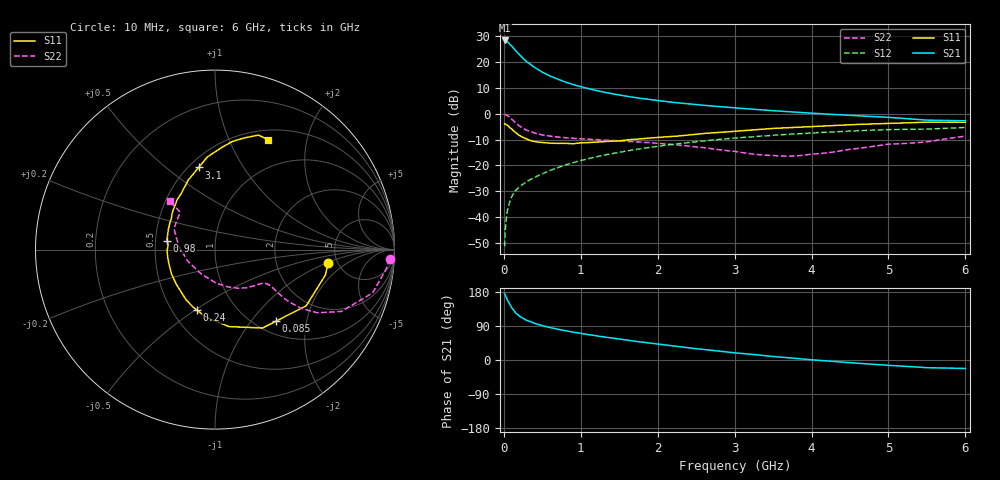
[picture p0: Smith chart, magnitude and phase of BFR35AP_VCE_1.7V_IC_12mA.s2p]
! Infineon Technologies  Discrete & RF Semiconductors
! BFR35AP
! VCE =  1.7 V,  IC =  12 mA
! Common Emitter S-Parameters:  Nov 2015
# GHz  S  MA  R  50
!  f  S11  S21  S12  S22
! GHz  MAG  ANG  MAG  ANG  MAG  ANG  MAG  ANG
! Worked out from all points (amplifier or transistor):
!   210 points, 10 MHz to 6 GHz, reference 50 ohm
!   highest |S21| = 28.1 dB at 10 MHz (marker M1)
!   |S21| within 3 dB of that: start of sweep to 126.3 MHz
!   unconditionally stable (mu >= 1): 472.9 MHz to 3.983 GHz; 5.473 GHz to 5.604 GHz
!   at 185 MHz: K = 0.63, MSG = 25.9 dB, |S12| = -28.7 dB
!   at 1.52 GHz: K = 1.13, MAG = 8.7 dB, |S12| = -14.8 dB
!   at 6 GHz: K = 0.99, MSG = 1.3 dB, |S12| = -5.3 dB
!   S11 on the Smith chart (normalised r, x): 10 MHz: 4.19, -1.07; 85 MHz: 1.21, -1.34; 240 MHz: 0.66, -0.51; 980 MHz: 0.58, +0.06; 3.1 GHz: 0.56, +0.65; 6 GHz: 0.62, +1.41
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0.01  0.6353 -6.9  25.51 175.1  0.0028 88.0  0.9739 -3.1
0.02  0.6309 -13.0  25.1 170.1  0.006 78.4  0.9606 -6.4
0.05  0.5971 -31.6  23.91 156.6  0.0144 76.2  0.9107 -15.4
0.085  0.5235 -49.8  21.04 144.5  0.0216 69.2  0.8186 -22.5
0.1  0.511 -58.8  20.14 138.4  0.0248 67.5  0.7837 -26.1
0.15  0.4361 -79.7  16.41 125.0  0.0327 62.9  0.6676 -31.8
0.2  0.3815 -96.6  13.68 116.0  0.0386 61.4  0.5805 -34.3
0.24  0.3525 -106.7  11.9 110.7  0.0428 61.0  0.5302 -34.9
0.26  0.3412 -111.4  11.15 108.2  0.045 61.0  0.5093 -35.1
0.3  0.3222 -120.2  9.881 104.1  0.0493 61.5  0.4762 -35.2
0.4  0.289 -138.6  7.699 96.7  0.0591 63.1  0.421 -34.4
0.5  0.2775 -151.1  6.246 90.4  0.0693 63.9  0.3861 -33.5
0.6  0.2693 -161.4  5.282 85.5  0.0803 64.5  0.3665 -33.1
0.7  0.2671 -170.5  4.582 81.1  0.0907 64.8  0.3533 -33.2
0.98  0.2709 169.4  3.346 70.9  0.1222 64.2  0.3281 -34.6
1.02  0.2738 167.0  3.227 69.6  0.1266 64.0  0.3255 -35.1
1.4  0.2953 147.7  2.41 58.1  0.1687 60.9  0.3044 -40.7
2.02  0.3493 127.0  1.761 41.5  0.2367 54.1  0.2656 -53.5
3.1  0.4665 101.2  1.254 17.2  0.3459 40.1  0.1769 -93.4
4.1  0.5732 85.8  0.996 -0.9  0.4305 26.5  0.169 -164.0
5.1  0.6523 73.7  0.825 -15.2  0.4926 12.5  0.2604 148.4
6  0.6797 64.1  0.724 -22.3  0.5406 2.7  0.3671 132.9
